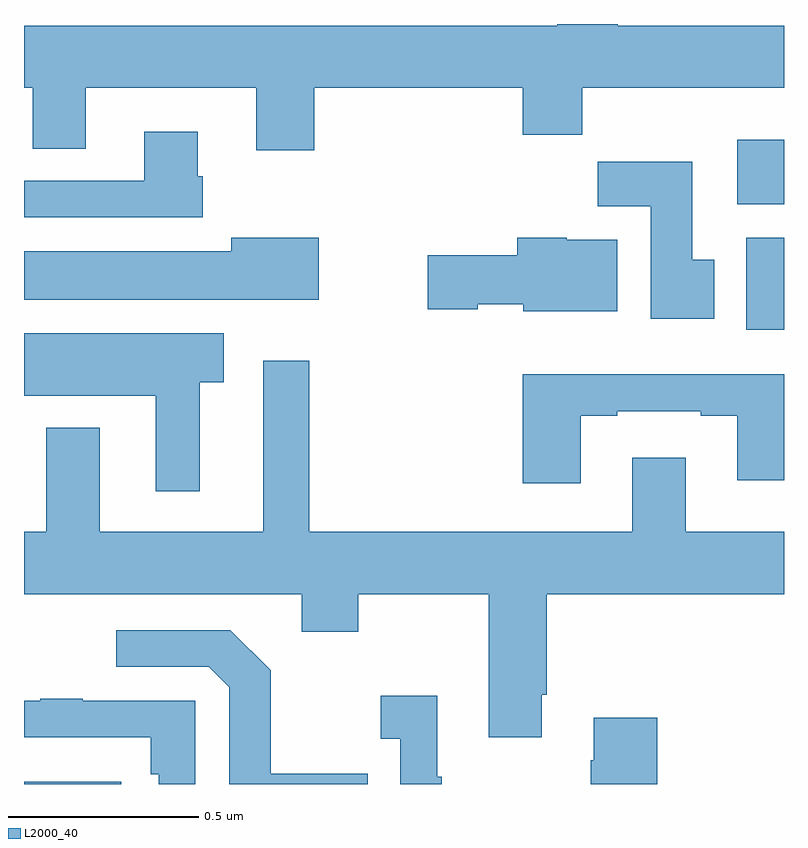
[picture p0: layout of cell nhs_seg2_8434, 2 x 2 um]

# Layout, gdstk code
import gdstk
lib = gdstk.Library(unit=1e-6, precision=1e-09)
def R(c, l, rs):  # rectangles x0, y0, x1, y1
    for r in rs: c.add(gdstk.rectangle(r[:2], r[2:], *l))
def P(c, l, *ps):  # polygons
    for p in ps: c.add(gdstk.Polygon(p, *l))
L2000_40 = (2000, 40)

nhs_seg2_8434 = lib.new_cell('nhs_seg2_8434')
R(nhs_seg2_8434, L2000_40, [(216,649.8,216.256,649.806), (217.901,650.996,218,651.238), (217.877,651.326,218,651.496)])
P(nhs_seg2_8434, L2000_40, [(216.764,651.632),(217.313,651.632),(217.313,651.508),(217.469,651.508),(217.469,651.632),(218,651.632),(218,651.796),(217.563,651.796),(217.563,651.8),(217.403,651.8),(217.403,651.796),(216,651.796),(216,651.632),(216.023,651.632),(216.023,651.472),(216.163,651.472),(216.163,651.632),(216.611,651.632),(216.611,651.468),(216.764,651.468)],
  [(216.47,651.399),(216.457,651.399),(216.457,651.517),(216.317,651.517),(216.317,651.387),(216,651.387),(216,651.291),(216.47,651.291)],
  [(217.816,651.18),(217.759,651.18),(217.759,651.438),(217.51,651.438),(217.51,651.32),(217.649,651.32),(217.649,651.024),(217.816,651.024)],
  [(217.561,651.232),(217.428,651.232),(217.428,651.238),(217.298,651.238),(217.298,651.192),(217.062,651.192),(217.062,651.05),(217.194,651.05),(217.194,651.062),(217.314,651.062),(217.314,651.044),(217.561,651.044)],
  [(216.775,651.238),(216.545,651.238),(216.545,651.202),(216,651.202),(216,651.074),(216.775,651.074)],
  [(216.463,650.857),(216.526,650.857),(216.526,650.986),(216,650.986),(216,650.822),(216.347,650.822),(216.347,650.571),(216.463,650.571)],
  [(217.363,650.035),(217.376,650.035),(217.376,650.3),(218,650.3),(218,650.464),(217.741,650.464),(217.741,650.659),(217.601,650.659),(217.601,650.464),(216.751,650.464),(216.751,650.914),(216.629,650.914),(216.629,650.464),(216.199,650.464),(216.199,650.737),(216.059,650.737),(216.059,650.464),(216,650.464),(216,650.3),(216.731,650.3),(216.731,650.201),(216.879,650.201),(216.879,650.3),(217.223,650.3),(217.223,649.923),(217.363,649.923)],
  [(217.465,650.769),(217.561,650.769),(217.561,650.781),(217.781,650.781),(217.781,650.769),(217.877,650.769),(217.877,650.6),(218,650.6),(218,650.878),(217.313,650.878),(217.313,650.592),(217.465,650.592)],
  [(216.905,649.827),(216.649,649.827),(216.649,650.099),(216.543,650.205),(216.243,650.205),(216.243,650.109),(216.486,650.109),(216.54,650.055),(216.54,649.8),(216.905,649.8)],
  [(217.099,649.819),(217.087,649.819),(217.087,650.032),(216.939,650.032),(216.939,649.919),(216.99,649.919),(216.99,649.8),(217.099,649.8)],
  [(216.45,650.019),(216.155,650.019),(216.155,650.024),(216.043,650.024),(216.043,650.019),(216,650.019),(216,649.923),(216.334,649.923),(216.334,649.826),(216.354,649.826),(216.354,649.8),(216.45,649.8)],
  [(217.667,649.975),(217.499,649.975),(217.499,649.862),(217.492,649.862),(217.492,649.8),(217.667,649.8)])

lib.write_gds('nhs_seg2_8434.gds')
